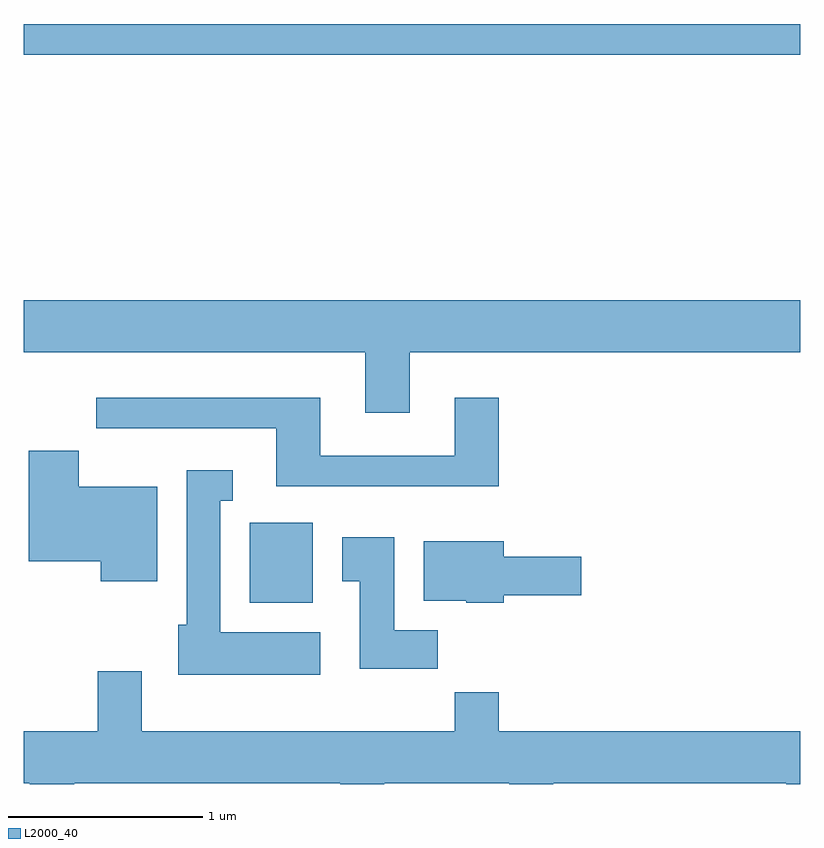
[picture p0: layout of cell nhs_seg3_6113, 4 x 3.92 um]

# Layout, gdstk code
import gdstk
lib = gdstk.Library(unit=1e-6, precision=1e-09)
def R(c, l, rs):  # rectangles x0, y0, x1, y1
    for r in rs: c.add(gdstk.rectangle(r[:2], r[2:], *l))
def P(c, l, *ps):  # polygons
    for p in ps: c.add(gdstk.Polygon(p, *l))
L2000_40 = (2000, 40)

nhs_seg3_6113 = lib.new_cell('nhs_seg3_6113')
R(nhs_seg3_6113, L2000_40, [(364.776,1246.826,365.099,1247.239), (363.611,1249.651,367.611,1249.809)])
P(nhs_seg3_6113, L2000_40, [(365.599,1248.116),(367.611,1248.116),(367.611,1248.384),(363.611,1248.384),(363.611,1248.116),(365.371,1248.116),(365.371,1247.806),(365.599,1247.806)],
  [(366.059,1247.884),(365.831,1247.884),(365.831,1247.584),(365.139,1247.584),(365.139,1247.884),(363.983,1247.884),(363.983,1247.726),(364.911,1247.726),(364.911,1247.426),(366.059,1247.426)],
  [(364.299,1247.424),(363.894,1247.424),(363.894,1247.609),(363.636,1247.609),(363.636,1247.041),(364.006,1247.041),(364.006,1246.936),(364.299,1246.936)],
  [(365.139,1246.674),(364.624,1246.674),(364.624,1247.351),(364.688,1247.351),(364.688,1247.509),(364.451,1247.509),(364.451,1246.714),(364.406,1246.714),(364.406,1246.456),(365.139,1246.456)],
  [(365.744,1246.684),(365.519,1246.684),(365.519,1247.164),(365.251,1247.164),(365.251,1246.936),(365.341,1246.936),(365.341,1246.486),(365.744,1246.486)],
  [(366.084,1246.866),(366.484,1246.866),(366.484,1247.064),(366.084,1247.064),(366.084,1247.144),(365.671,1247.144),(365.671,1246.836),(365.89,1246.836),(365.89,1246.826),(366.084,1246.826)],
  [(363.869,1245.896),(365.241,1245.896),(365.241,1245.892),(365.469,1245.892),(365.469,1245.896),(366.111,1245.896),(366.111,1245.892),(366.339,1245.892),(366.339,1245.896),(367.541,1245.896),(367.541,1245.892),(367.611,1245.892),(367.611,1246.164),(366.059,1246.164),(366.059,1246.364),(365.831,1246.364),(365.831,1246.164),(364.219,1246.164),(364.219,1246.474),(363.991,1246.474),(363.991,1246.164),(363.611,1246.164),(363.611,1245.896),(363.641,1245.896),(363.641,1245.892),(363.869,1245.892)])

lib.write_gds('nhs_seg3_6113.gds')
